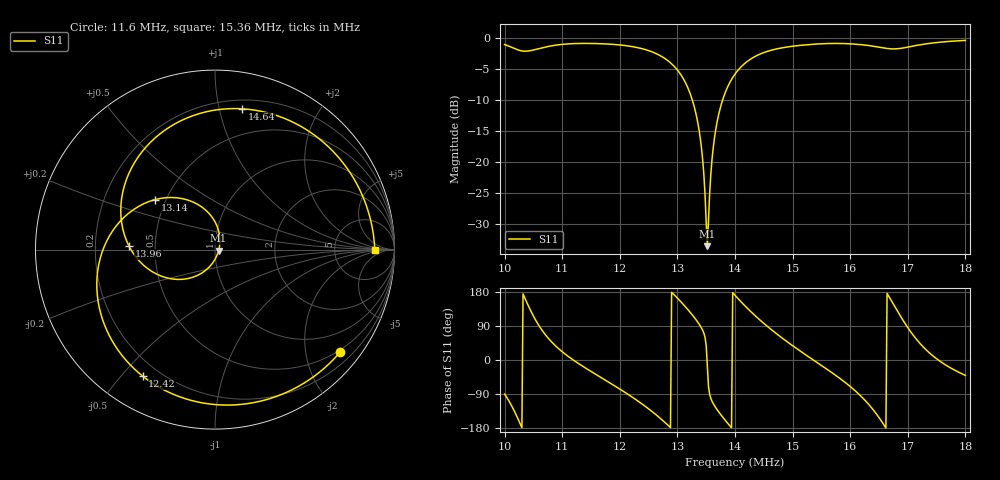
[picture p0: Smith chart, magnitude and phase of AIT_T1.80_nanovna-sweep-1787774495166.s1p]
! NanoVNA Web complex sweep
! Processing: original sample grid, no browser smoothing
# Hz S RI R 50
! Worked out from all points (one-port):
!   401 points, 10 MHz to 18 MHz, reference 50 ohm
!   lowest |S11| = -33.6 dB at 13.52 MHz (marker M1), VSWR 1.04, Z = 52 - j0.638 ohm
!   |S11| at or under -10 dB: 13.26 MHz to 13.79 MHz (526.7 kHz wide, 3.89 % of centre)
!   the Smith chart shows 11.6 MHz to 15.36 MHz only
!   S11 on the Smith chart (normalised r, x): 11.6 MHz: 0.45, -2.72; 12.42 MHz: 0.14, -0.57; 13.14 MHz: 0.44, +0.30; 13.96 MHz: 0.35, +0.02; 14.64 MHz: 0.27, +1.18; 15.36 MHz: 17, -0
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1e7  -0.000749 -0.885
1.016e7  -0.5533 -0.6134
1.034e7  -0.7637 0.1706
1.06e7  0.00293 0.8211
1.1e7  0.8244 0.3303
1.16e7  0.696 -0.5727
1.2e7  0.2025 -0.8549
1.242e7  -0.4032 -0.7049
1.274e7  -0.6556 -0.2542
1.3e7  -0.5286 0.1576
1.314e7  -0.3354 0.2781
1.336e7  -0.0298 0.1977
1.352e7  0.02 -0.00613
1.368e7  -0.1256 -0.1547
1.396e7  -0.4793 0.0197
1.4e7  -0.5046 0.0817
1.426e7  -0.4287 0.5152
1.464e7  0.1516 0.7844
1.5e7  0.678 0.5254
1.536e7  0.8903 -0.000711
1.568e7  0.756 -0.4942
1.6e7  0.3099 -0.843
1.632e7  -0.3932 -0.7751
1.66e7  -0.8246 -0.0772
1.682e7  -0.5185 0.6334
1.7e7  0.0681 0.8412
1.74e7  0.8743 0.2427
1.8e7  0.7253 -0.6214
